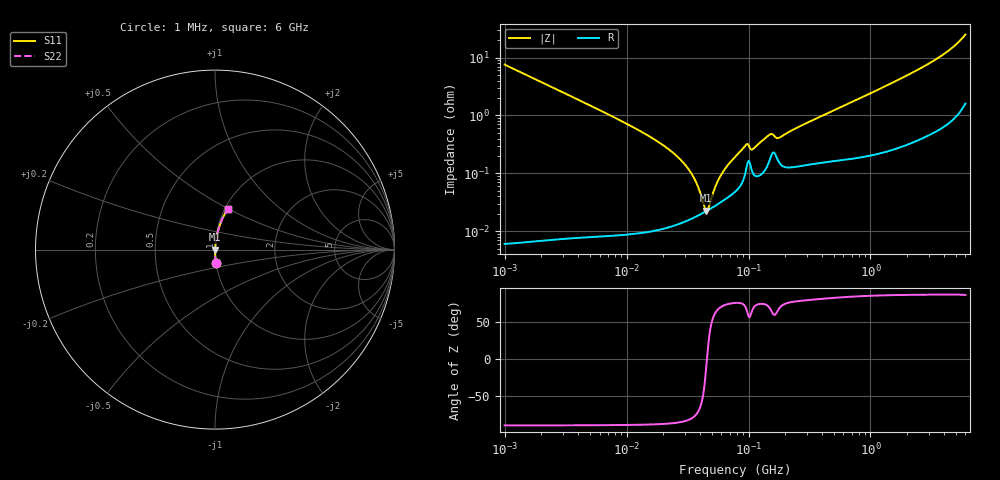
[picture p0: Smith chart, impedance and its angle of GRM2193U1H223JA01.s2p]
!Murata Part Number: GRM2193U1H223JA01
!These Parameters are Measured in Series Mode Connection
!Data Generated on Mar 30, 2021
!  o--ll--o
!Port1  Port2
!  o------o
!Operation Temp=25[degC], DC Bias Voltage=0[V]
!Freq. Start=1000[kHz] Stop=6[GHz] 401[Steps]
# Hz S RI R 50
!Freq.(Hz) S11(Real) S11(Imag) S21(Real) S21(Imag) S12(Real) S12(Imag) S22(Real) S22(Imag)
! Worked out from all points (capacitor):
!   401 points, 1 MHz to 6 GHz, reference 50 ohm
!   read as one part in series: C = 21 nF near 1.044 MHz
!   lowest |Z| = 22.7 mohm at 44.97 MHz (marker M1)
!   series resonance near 45.63 MHz, so ESL is about 580 pH
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1000000  0.00576 -0.0753  0.9942 0.0753  0.9942 0.0753  0.00576 -0.0753
4293785  0.000383 -0.0175  0.9996 0.0175  0.9996 0.0175  0.000383 -0.0175
1.0704e7  0.000133 -0.00668  0.9999 0.00668  0.9999 0.00668  0.000133 -0.00668
1.843659e7  0.000117 -0.00343  0.9999 0.00343  0.9999 0.00343  0.000117 -0.00343
2.554826e7  0.000132 -0.00203  0.9999 0.00203  0.9999 0.00203  0.000132 -0.00203
3.245342e7  0.000158 -0.00115  0.9998 0.00115  0.9998 0.00115  0.000158 -0.00115
3.697709e7  0.000179 -0.000697  0.9998 0.000697  0.9998 0.000697  0.000179 -0.000697
4.305766e7  0.000211 -0.000191  0.9998 0.000191  0.9998 0.000191  0.000211 -0.000191
4.497189e7  0.000222 -4.75e-05  0.9998 4.75e-05  0.9998 4.75e-05  0.000222 -4.75e-05
4.697123e7  0.000234 9.53e-05  0.9998 -9.53e-05  0.9998 -9.53e-05  0.000234 9.53e-05
5.351853e7  0.000276 0.000526  0.9997 -0.000526  0.9997 -0.000526  0.000276 0.000526
5.838291e7  0.000311 0.000817  0.9997 -0.000817  0.9997 -0.000817  0.000311 0.000817
6.652088e7  0.000375 0.00127  0.9996 -0.00127  0.9996 -0.00127  0.000375 0.00127
7.745967e7  0.000482 0.00185  0.9995 -0.00185  0.9995 -0.00185  0.000482 0.00185
9.420718e7  0.00103 0.00285  0.999 -0.00285  0.999 -0.00285  0.00103 0.00285
1.096987e8  0.000975 0.00249  0.999 -0.00249  0.999 -0.00249  0.000975 0.00249
1.487431e8  0.00169 0.00433  0.9983 -0.00433  0.9983 -0.00433  0.00169 0.00433
1.809028e8  0.00149 0.0039  0.9985 -0.0039  0.9985 -0.0039  0.00149 0.0039
3.325952e8  0.0015 0.00806  0.9985 -0.00806  0.9985 -0.00806  0.0015 0.00806
1.428092e9  0.00363 0.0344  0.9964 -0.0344  0.9964 -0.0344  0.00363 0.0344
3.5601e9  0.0147 0.0957  0.9853 -0.0957  0.9853 -0.0957  0.0147 0.0957
6e9  0.0723 0.2289  0.9277 -0.2289  0.9277 -0.2289  0.0723 0.2289
